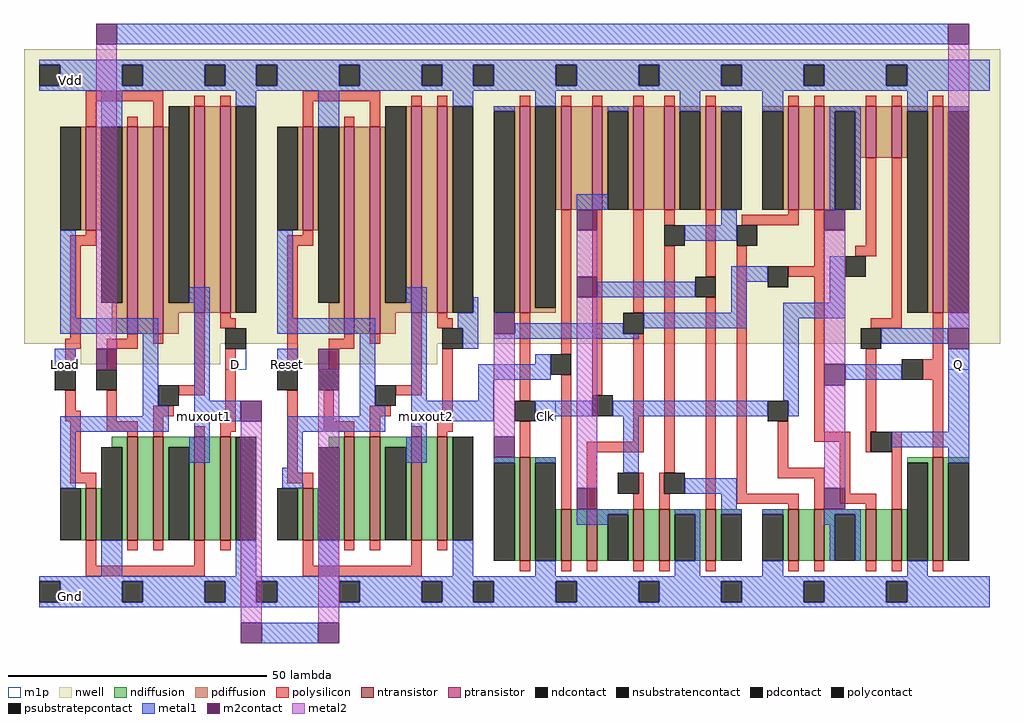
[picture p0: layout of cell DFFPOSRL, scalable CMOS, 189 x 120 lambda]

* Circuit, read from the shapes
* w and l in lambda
.subckt DFFPOSRL Clk D Gnd Load Q Reset Vdd muxout1 muxout2
M1 Gnd Load n1 Gnd nfet w=10 l=2
M2 n2 Q Gnd Gnd nfet w=20 l=2
M3 muxout1 n1 n2 Gnd nfet w=20 l=2
M4 n3 Load muxout1 Gnd nfet w=20 l=2
M5 Gnd D n3 Gnd nfet w=20 l=2
M6 Gnd Reset n4 Gnd nfet w=10 l=2
M7 n5 muxout1 Gnd Gnd nfet w=20 l=2
M8 muxout2 n4 n5 Gnd nfet w=20 l=2
M9 n6 Reset muxout2 Gnd nfet w=20 l=2
M10 Gnd Vdd n6 Gnd nfet w=20 l=2
M11 Gnd Clk n7 Gnd nfet w=20 l=2
M12 n8 muxout2 Gnd Gnd nfet w=10 l=2
M13 n9 n7 n8 Gnd nfet w=10 l=2
M14 n10 Clk n9 Gnd nfet w=10 l=2
M15 Gnd n11 n10 Gnd nfet w=10 l=2
M16 n11 n9 Gnd Gnd nfet w=10 l=2
M17 n12 n11 Gnd Gnd nfet w=10 l=2
M18 n13 Clk n12 Gnd nfet w=10 l=2
M19 n14 n7 n13 Gnd nfet w=10 l=2
M20 Gnd Q n14 Gnd nfet w=10 l=2
M21 Q n13 Gnd Gnd nfet w=20 l=2
M22 Vdd Load n1 Vdd pfet w=20 l=2
M23 n15 Q Vdd Vdd pfet w=40 l=2
M24 muxout1 Load n15 Vdd pfet w=40 l=2
M25 n16 n1 muxout1 Vdd pfet w=40 l=2
M26 Vdd D n16 Vdd pfet w=40 l=2
M27 Vdd Reset n4 Vdd pfet w=20 l=2
M28 n17 muxout1 Vdd Vdd pfet w=40 l=2
M29 muxout2 Reset n17 Vdd pfet w=40 l=2
M30 n18 n4 muxout2 Vdd pfet w=40 l=2
M31 Vdd Vdd n18 Vdd pfet w=40 l=2
M32 Vdd Clk n7 Vdd pfet w=40 l=2
M33 n19 muxout2 Vdd Vdd pfet w=20 l=2
M34 n9 Clk n19 Vdd pfet w=20 l=2
M35 n20 n7 n9 Vdd pfet w=20 l=2
M36 Vdd n11 n20 Vdd pfet w=20 l=2
M37 n11 n9 Vdd Vdd pfet w=20 l=2
M38 n21 n11 Vdd Vdd pfet w=20 l=2
M39 n13 n7 n21 Vdd pfet w=20 l=2
M40 n22 Clk n13 Vdd pfet w=10 l=2
M41 Vdd Q n22 Vdd pfet w=10 l=2
M42 Q n13 Vdd Vdd pfet w=40 l=2
.ends

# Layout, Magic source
magic
tech scmos
<< nwell >>
rect 16 314 205 371
rect 27 310 54 314
rect 69 310 96 314
<< ntransistor >>
rect 28 276 30 286
rect 36 276 38 296
rect 41 276 43 296
rect 49 276 51 296
rect 54 276 56 296
rect 70 276 72 286
rect 78 276 80 296
rect 83 276 85 296
rect 91 276 93 296
rect 96 276 98 296
rect 112 272 114 292
rect 120 272 122 282
rect 125 272 127 282
rect 134 272 136 282
rect 139 272 141 282
rect 148 272 150 282
rect 164 272 166 282
rect 169 272 171 282
rect 179 272 181 282
rect 184 272 186 282
rect 192 272 194 292
<< ptransistor >>
rect 28 336 30 356
rect 36 316 38 356
rect 41 316 43 356
rect 49 320 51 360
rect 54 320 56 360
rect 70 336 72 356
rect 78 316 80 356
rect 83 316 85 356
rect 91 320 93 360
rect 96 320 98 360
rect 112 320 114 360
rect 120 340 122 360
rect 126 340 128 360
rect 134 340 136 360
rect 140 340 142 360
rect 148 340 150 360
rect 164 340 166 360
rect 169 340 171 360
rect 179 350 181 360
rect 184 350 186 360
rect 192 320 194 360
<< ndiffusion >>
rect 33 294 36 296
rect 27 276 28 286
rect 30 276 31 286
rect 35 276 36 294
rect 38 276 41 296
rect 43 294 49 296
rect 43 276 44 294
rect 48 276 49 294
rect 51 276 54 296
rect 56 276 57 296
rect 75 294 78 296
rect 69 276 70 286
rect 72 276 73 286
rect 77 276 78 294
rect 80 276 83 296
rect 85 294 91 296
rect 85 276 86 294
rect 90 276 91 294
rect 93 276 96 296
rect 98 276 99 296
rect 107 291 112 292
rect 111 272 112 291
rect 114 291 119 292
rect 114 272 115 291
rect 187 291 192 292
rect 119 272 120 282
rect 122 272 125 282
rect 127 281 134 282
rect 127 272 129 281
rect 133 272 134 281
rect 136 272 139 282
rect 141 281 148 282
rect 141 272 142 281
rect 146 272 148 281
rect 150 281 155 282
rect 150 272 151 281
rect 159 281 164 282
rect 163 272 164 281
rect 166 272 169 282
rect 171 281 179 282
rect 171 272 173 281
rect 177 272 179 281
rect 181 272 184 282
rect 186 272 187 282
rect 191 272 192 291
rect 194 291 199 292
rect 194 272 195 291
<< pdiffusion >>
rect 27 336 28 356
rect 30 336 31 356
rect 35 322 36 356
rect 33 316 36 322
rect 38 316 41 356
rect 43 322 44 356
rect 48 322 49 360
rect 43 320 49 322
rect 51 320 54 360
rect 56 320 57 360
rect 69 336 70 356
rect 72 336 73 356
rect 43 316 46 320
rect 77 322 78 356
rect 75 316 78 322
rect 80 316 83 356
rect 85 322 86 356
rect 90 322 91 360
rect 85 320 91 322
rect 93 320 96 360
rect 98 320 99 360
rect 107 359 112 360
rect 111 320 112 359
rect 114 321 115 360
rect 119 340 120 360
rect 122 340 126 360
rect 128 359 134 360
rect 128 340 129 359
rect 133 340 134 359
rect 136 340 140 360
rect 142 359 148 360
rect 142 340 143 359
rect 147 340 148 359
rect 150 359 155 360
rect 150 340 151 359
rect 159 359 164 360
rect 163 340 164 359
rect 166 340 169 360
rect 171 359 179 360
rect 171 340 173 359
rect 177 350 179 359
rect 181 350 184 360
rect 186 359 192 360
rect 186 350 187 359
rect 177 340 178 350
rect 114 320 119 321
rect 85 316 88 320
rect 191 320 192 359
rect 194 359 199 360
rect 194 320 195 359
<< ndcontact >>
rect 23 276 27 286
rect 31 276 35 294
rect 44 276 48 294
rect 57 276 61 296
rect 65 276 69 286
rect 73 276 77 294
rect 86 276 90 294
rect 99 276 103 296
rect 107 272 111 291
rect 115 272 119 291
rect 129 272 133 281
rect 142 272 146 281
rect 151 272 155 281
rect 159 272 163 281
rect 173 272 177 281
rect 187 272 191 291
rect 195 272 199 291
<< pdcontact >>
rect 23 336 27 356
rect 31 322 35 356
rect 44 322 48 360
rect 57 320 61 360
rect 65 336 69 356
rect 73 322 77 356
rect 86 322 90 360
rect 99 320 103 360
rect 107 320 111 359
rect 115 321 119 360
rect 129 340 133 359
rect 143 340 147 359
rect 151 340 155 359
rect 159 340 163 359
rect 173 340 177 359
rect 187 320 191 359
rect 195 320 199 359
<< psubstratepcontact >>
rect 19 264 23 268
rect 35 264 39 268
rect 51 264 55 268
rect 61 264 65 268
rect 77 264 81 268
rect 93 264 97 268
rect 103 264 107 268
rect 119 264 123 268
rect 135 264 139 268
rect 151 264 155 268
rect 167 264 171 268
rect 183 264 187 268
<< nsubstratencontact >>
rect 19 364 23 368
rect 35 364 39 368
rect 51 364 55 368
rect 61 364 65 368
rect 77 364 81 368
rect 93 364 97 368
rect 103 364 107 368
rect 119 364 123 368
rect 135 364 139 368
rect 151 364 155 368
rect 167 364 171 368
rect 183 364 187 368
<< polysilicon >>
rect 28 361 43 363
rect 28 356 30 361
rect 36 356 38 358
rect 41 356 43 361
rect 49 360 51 362
rect 54 360 56 362
rect 70 361 85 363
rect 28 335 30 336
rect 25 333 30 335
rect 25 315 27 333
rect 70 356 72 361
rect 78 356 80 358
rect 83 356 85 361
rect 91 360 93 362
rect 96 360 98 362
rect 112 360 114 362
rect 120 360 122 362
rect 126 360 128 362
rect 134 360 136 362
rect 140 360 142 362
rect 148 360 150 362
rect 164 360 166 362
rect 169 360 171 362
rect 179 360 181 362
rect 184 360 186 362
rect 192 360 194 362
rect 70 335 72 336
rect 67 333 72 335
rect 36 315 38 316
rect 24 313 27 315
rect 32 313 38 315
rect 41 314 43 316
rect 24 309 26 313
rect 32 309 34 313
rect 49 306 51 320
rect 54 319 56 320
rect 54 317 57 319
rect 24 301 26 305
rect 24 299 27 301
rect 25 289 27 299
rect 32 299 34 305
rect 46 304 51 306
rect 41 300 45 302
rect 32 297 38 299
rect 36 296 38 297
rect 41 296 43 300
rect 55 299 57 313
rect 67 309 69 333
rect 78 315 80 316
rect 75 313 80 315
rect 83 314 85 316
rect 75 309 77 313
rect 91 306 93 320
rect 96 319 98 320
rect 96 317 99 319
rect 49 296 51 298
rect 54 297 57 299
rect 54 296 56 297
rect 25 287 30 289
rect 28 286 30 287
rect 67 289 69 305
rect 74 299 76 305
rect 88 304 93 306
rect 83 300 87 302
rect 74 297 80 299
rect 78 296 80 297
rect 83 296 85 300
rect 97 299 99 313
rect 112 303 114 320
rect 120 312 122 340
rect 91 296 93 298
rect 96 297 99 299
rect 96 296 98 297
rect 67 287 72 289
rect 70 286 72 287
rect 112 292 114 299
rect 28 271 30 276
rect 36 274 38 276
rect 41 274 43 276
rect 49 271 51 276
rect 54 274 56 276
rect 28 269 51 271
rect 70 271 72 276
rect 78 274 80 276
rect 83 274 85 276
rect 91 271 93 276
rect 96 274 98 276
rect 120 282 122 308
rect 126 304 128 340
rect 134 320 136 340
rect 134 295 136 316
rect 125 293 136 295
rect 140 337 142 340
rect 125 282 127 293
rect 140 289 142 333
rect 148 327 150 340
rect 164 339 166 340
rect 155 337 166 339
rect 135 285 136 289
rect 134 282 136 285
rect 139 285 140 289
rect 139 282 141 285
rect 148 282 150 323
rect 154 285 156 333
rect 169 329 171 340
rect 179 333 181 350
rect 177 331 181 333
rect 164 327 171 329
rect 162 290 164 299
rect 169 297 171 327
rect 184 319 186 350
rect 180 317 186 319
rect 179 297 181 313
rect 192 311 194 320
rect 190 307 194 311
rect 169 295 176 297
rect 162 288 171 290
rect 154 283 166 285
rect 164 282 166 283
rect 169 282 171 288
rect 174 285 176 295
rect 179 293 180 297
rect 174 283 181 285
rect 179 282 181 283
rect 184 282 186 297
rect 192 292 194 307
rect 70 269 93 271
rect 112 270 114 272
rect 120 270 122 272
rect 125 270 127 272
rect 134 270 136 272
rect 139 270 141 272
rect 148 270 150 272
rect 164 270 166 272
rect 169 270 171 272
rect 179 270 181 272
rect 184 270 186 272
rect 192 270 194 272
<< polycontact >>
rect 22 305 26 309
rect 30 305 34 309
rect 42 302 46 306
rect 55 313 59 317
rect 65 305 69 309
rect 73 305 77 309
rect 84 302 88 306
rect 97 313 101 317
rect 118 308 122 312
rect 111 299 115 303
rect 132 316 136 320
rect 126 300 130 304
rect 140 333 144 337
rect 146 323 150 327
rect 131 285 135 289
rect 140 285 144 289
rect 154 333 158 337
rect 160 325 164 329
rect 175 327 179 331
rect 160 299 164 303
rect 178 313 182 317
rect 186 307 190 311
rect 180 293 184 297
<< metal1 >>
rect 34 372 195 376
rect 19 368 203 369
rect 23 364 35 368
rect 39 364 51 368
rect 55 364 61 368
rect 65 364 77 368
rect 81 364 93 368
rect 97 364 103 368
rect 107 364 119 368
rect 123 364 135 368
rect 139 364 151 368
rect 155 364 167 368
rect 171 364 183 368
rect 187 364 203 368
rect 19 363 203 364
rect 31 356 35 363
rect 57 360 61 363
rect 23 319 26 336
rect 48 322 52 325
rect 23 316 42 319
rect 22 309 26 313
rect 39 302 42 316
rect 49 303 52 322
rect 73 356 77 363
rect 99 360 103 363
rect 115 360 119 363
rect 65 319 68 336
rect 90 322 94 325
rect 65 316 84 319
rect 65 309 69 313
rect 39 300 44 302
rect 23 297 44 300
rect 49 299 58 303
rect 81 302 84 316
rect 91 303 94 322
rect 107 359 111 360
rect 103 320 104 323
rect 100 317 104 320
rect 101 313 104 317
rect 129 359 133 360
rect 123 340 129 343
rect 143 359 147 363
rect 151 359 155 360
rect 159 359 163 363
rect 172 359 178 360
rect 172 340 173 359
rect 177 340 178 359
rect 187 359 191 363
rect 151 337 154 340
rect 144 334 154 337
rect 127 323 146 326
rect 153 326 160 329
rect 153 320 156 326
rect 172 322 175 331
rect 111 316 132 318
rect 136 317 156 320
rect 163 319 175 322
rect 195 359 199 360
rect 107 315 135 316
rect 115 310 118 312
rect 104 307 118 310
rect 104 303 107 307
rect 81 300 86 302
rect 23 286 26 297
rect 49 296 52 299
rect 67 297 86 300
rect 91 299 107 303
rect 115 300 126 303
rect 163 303 166 319
rect 195 317 199 320
rect 182 314 195 317
rect 175 307 186 310
rect 130 300 160 303
rect 48 291 52 296
rect 67 290 70 297
rect 91 296 94 299
rect 66 286 70 290
rect 90 291 94 296
rect 31 269 35 276
rect 57 269 61 276
rect 73 269 77 276
rect 99 269 103 276
rect 107 291 111 292
rect 115 291 119 292
rect 132 289 135 300
rect 164 300 166 303
rect 195 297 199 313
rect 184 294 199 297
rect 195 291 199 294
rect 144 285 154 288
rect 151 282 154 285
rect 123 281 133 282
rect 123 279 129 281
rect 142 281 147 282
rect 146 272 147 281
rect 151 281 155 282
rect 159 281 163 282
rect 171 281 178 282
rect 171 279 173 281
rect 172 272 173 279
rect 177 272 178 281
rect 115 269 119 272
rect 142 269 147 272
rect 159 269 163 272
rect 187 269 191 272
rect 19 268 203 269
rect 23 264 35 268
rect 39 264 51 268
rect 55 264 61 268
rect 65 264 77 268
rect 81 264 93 268
rect 97 264 103 268
rect 107 264 119 268
rect 123 264 135 268
rect 139 264 151 268
rect 155 264 167 268
rect 171 264 183 268
rect 187 264 203 268
rect 19 263 203 264
rect 62 256 73 260
<< m2contact >>
rect 30 372 34 376
rect 195 372 199 376
rect 30 309 34 313
rect 73 309 77 313
rect 58 299 62 303
rect 123 336 127 340
rect 171 336 175 340
rect 123 323 127 327
rect 107 316 111 320
rect 195 313 199 317
rect 171 306 175 310
rect 107 292 111 296
rect 123 282 127 286
rect 171 282 175 286
rect 58 256 62 260
rect 73 256 77 260
<< metal2 >>
rect 30 313 34 372
rect 123 327 127 336
rect 58 260 62 299
rect 73 260 77 309
rect 107 296 111 316
rect 123 286 127 323
rect 171 310 175 336
rect 195 317 199 372
rect 171 286 175 306
<< m1p >>
rect 22 309 26 313
rect 30 309 34 313
rect 55 309 59 313
rect 65 309 69 313
rect 195 309 199 313
rect 115 299 119 303
<< labels >>
rlabel metal1 24 310 24 310 1 Load
rlabel polysilicon 57 310 57 310 1 D
rlabel metal1 67 310 67 310 1 Reset
rlabel metal1 51 300 51 300 1 muxout1
rlabel metal1 25 265 25 265 1 Gnd
rlabel metal1 25 365 25 365 1 Vdd
rlabel metal1 94 300 94 300 1 muxout2
rlabel metal1 197 310 197 310 1 Q
rlabel metal1 117 300 117 300 1 Clk
<< end >>
